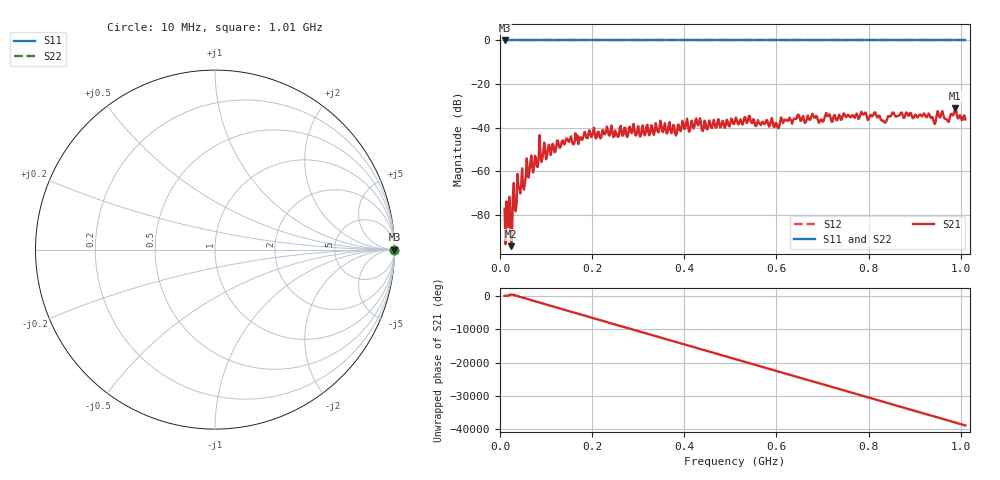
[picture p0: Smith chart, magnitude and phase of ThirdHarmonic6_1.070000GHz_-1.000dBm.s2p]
! 8/16/2025 9:42:05 AM
! C:\ANRITSUVNA\TEMP\TEMP.S2P
! CHANNEL.1
! TR.MEASUREMENT
! RAW.DATA
! RF.CORRECTION.OFF
! AVERAGING.OFF
! IF.BANDWIDTH: 5KHZ
! SWEEPTYPE:  FREQ.SWEEP(Linear)
! Reference Plane Port Info
! PORT:  PORT1  PORT2
! DISTANCE:  0  m  0  m
! TIME:  0  s  0  s
! PHASE.OFFSET:  0  deg.  0  deg.
! LOSS:  0  dB  0  dB
! REF.LOSS:  0  dB  0  dB
! REF.FREQ:  0  Hz  0  Hz
! Power Info
! POWER:  -20  dBm  -20  dBm
! EFF.POWER:  -20  dBm  -20  dBm
! SOURCE.ATTEN:  0  dB  0  dB
! TEST.ATTEN:  0  dB  0  dB
# GHZ S RI R 50.0
! FREQ.GHZ  S11RE  S11IM  S21RE  S21IM  S12RE  S12IM  S22RE  S22IM
!; PortSelection: Port_12
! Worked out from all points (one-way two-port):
!   501 points, 10 MHz to 1.01 GHz, reference 50 ohm
!   highest |S21| = -30.98 dB at 988 MHz (marker M1); lowest = -94.4 dB at 24 MHz (marker M2)
!   lowest |S11| = 0.0 dB at 10 MHz (marker M3)
!   |S11| at or under -10 dB: nowhere
!   |S22| runs from 0.0 to 0.0 dB; largest |S21 - S12| = 1
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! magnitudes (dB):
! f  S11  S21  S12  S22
! 10 MHz  0.0  -77.2  0.0  0.0
! 24 MHz  0.0  -94.4  0.0  0.0
! 62 MHz  0.0  -62.9  0.0  0.0
! 90 MHz  0.0  -55.8  0.0  0.0
! 178 MHz  0.0  -45.7  0.0  0.0
! 344 MHz  0.0  -42.2  0.0  0.0
! 382 MHz  0.0  -43.6  0.0  0.0
! 510 MHz  0.0  -36.9  0.0  0.0
! 602 MHz  0.0  -39.8  0.0  0.0
! 614 MHz  0.0  -38.0  0.0  0.0
! 678 MHz  0.0  -33.6  0.0  0.0
! 696 MHz  0.0  -36.3  0.0  0.0
! 710 MHz  0.0  -34.6  0.0  0.0
! 788 MHz  0.0  -33.9  0.0  0.0
! 834 MHz  0.0  -37.5  0.0  0.0
! 844 MHz  0.0  -34.7  0.0  0.0
! 918 MHz  0.0  -34.3  0.0  0.0
! 942 MHz  0.0  -37.8  0.0  0.0
! 958 MHz  0.0  -33.3  0.0  0.0
! 970 MHz  0.0  -36.3  0.0  0.0
! 988 MHz  0.0  -31.0  0.0  0.0
! 1.01 GHz  0.0  -36.2  0.0  0.0
